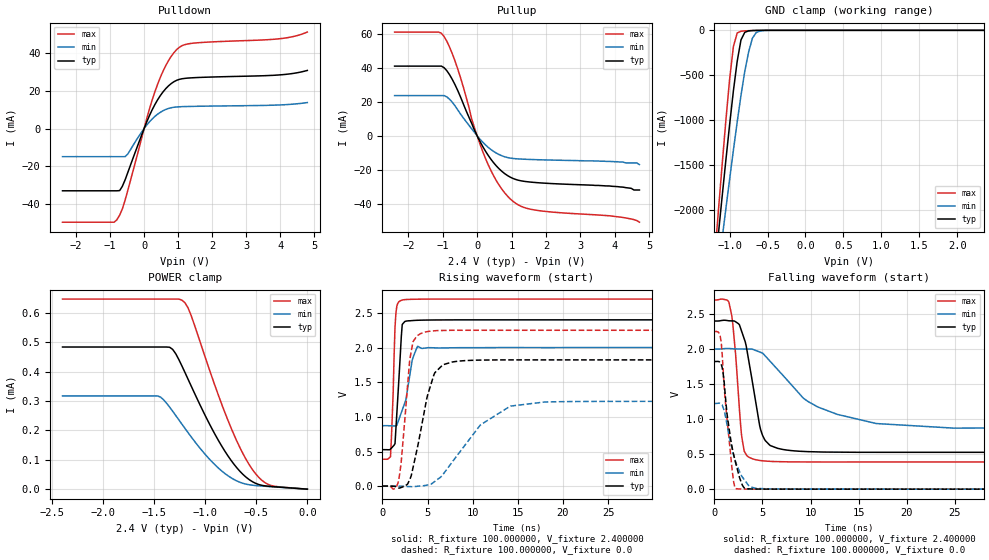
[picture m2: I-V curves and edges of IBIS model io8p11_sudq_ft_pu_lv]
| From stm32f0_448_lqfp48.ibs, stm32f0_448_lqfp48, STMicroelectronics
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|   Model io8p11_sudq_ft_pu_lv
[Model]  io8p11_sudq_ft_pu_lv
Model_type I/O
Polarity   Non-Inverting
Enable   Active-Low
Vinl =   0.720000V
Vinh =   1.680000V
Vmeas =  1.200000V
Cref =   50.000000pF
Rref =   100.000000M
Vref =   0.0V
C_comp   1.970100pF   1.887900pF   2.069400pF
[Temperature Range]   25.000000   0.125000k   -40.000000
[Pullup Reference]   2.400000V   2.000000V   2.700000V
[Pulldown Reference]   0.0V   0.0V   0.0V
[POWER Clamp Reference]   2.400000V   2.000000V   2.700000V
[GND Clamp Reference]   0.0V   0.0V   0.0V
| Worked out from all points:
|   slope of the pulldown table from 0 to 0.36 V, typ, clamps not added: 25.5 ohm
|   slope of the pullup table from 0 to 0.36 V, typ, clamps not added: 28.4 ohm
|   GND clamp passes 1 mA (typ) near -0.64 V on its own axis
|   rising waveform, R_fixture 100.000000, V_fixture 2.400000: 20-80 % time 508ps typ, 1.05ns min, 337ps max; typ from 0.527 V to 2.4 V
|   rising waveform, R_fixture 100.000000, V_fixture 0.0: 20-80 % time 1.8ns typ, 4.87ns min, 863ps max; typ from 0.001 V to 1.82 V
|   falling waveform, R_fixture 100.000000, V_fixture 2.400000: 20-80 % time 1.39ns typ, 6.08ns min, 775ps max; typ from 2.4 V to 0.527 V
|   falling waveform, R_fixture 100.000000, V_fixture 0.0: 20-80 % time 1.17ns typ, 1.4ns min, 853ps max; typ from 1.82 V to 0.001 V
[Pulldown]
|Voltage   I(typ)   I(min)   I(max)
-2.4V     -33.16mA   -14.98mA   -49.86mA
-880mV    -33.16mA   -14.98mA   -49.86mA
-800mV    -33.16mA   -14.98mA   -48.55mA
-640mV    -30.75mA   -14.98mA   -42.77mA
-480mV    -23.43mA   -13.57mA   -32.92mA
80mV      3.651mA    1.905mA    5.506mA
400mV     15.37mA    7.665mA    23.73mA
720mV     22.75mA    10.69mA    36.23mA
1.04V     26.18mA    11.57mA    43.27mA
1.52V     27.09mA    11.81mA    45.55mA
4V        28.55mA    12.55mA    47.81mA
4.8V      30.9mA     13.81mA    51.31mA
[Pullup]
|Voltage   I(typ)   I(min)   I(max)
-2.4V     41.12mA    23.71mA    61.21mA
-1.12V    41.12mA    23.71mA    61.21mA
-960mV    40.18mA    23.71mA    58.56mA
-800mV    36.01mA    21.55mA    52.29mA
-560mV    26.54mA    15.18mA    39.21mA
-160mV    7.421mA    4.162mA    10.02mA
240mV     -8.977mA   -5.327mA   -13.21mA
640mV     -19.51mA   -11.09mA   -29.16mA
1.04V     -25.15mA   -13.38mA   -38.61mA
1.68V     -27.56mA   -14.07mA   -43.82mA
3.84V     -29.6mA    -15.1mA    -47.2mA
4.72V     -32mA      -17mA      -51mA
[GND_clamp]
|Voltage   I(typ)   I(min)   I(max)
-2.4V     -9.788A    -9.782A    -9.734A
-1.2V     -2.718A    -3.02A     -2.568A
-1.15V    -2.29A     -2.675A    -2.036A
-1.1V     -1.868A    -2.333A    -1.515A
-1.05V    -1.454A    -1.995A    -1.012A
-950mV    -674.5mA   -1.337A    -180.5mA
-900mV    -345.2mA   -1.023A    -29.72mA
-850mV    -106.4mA   -726mA     -10.13mA
-750mV    -6.396mA   -244mA     -4.026mA
-700mV    -2.558mA   -88.61mA   -2.329mA
-600mV    -416uA     -7.739mA   -368uA
2.35V     0A         0A         0A
[POWER_clamp]
|Voltage   I(typ)   I(min)   I(max)
-2.4V     483.8uA    317.4uA    647uA
-1.47V    483.8uA    317.4uA    647uA
-1.32V    475.6uA    265.2uA    647uA
-1.23V    419.7uA    221.6uA    643.3uA
-1.17V    374.8uA    192.7uA    617.6uA
-1.14V    352.1uA    178.7uA    591.9uA
-840mV    147uA      62.15uA    289.6uA
-690mV    72.24uA    27.76uA    162.7uA
-540mV    25.74uA    13.55uA    67.63uA
-450mV    13.38uA    10.75uA    31.36uA
-360mV    9.231uA    8.535uA    12.97uA
0V        0A         0A         0A
[Ramp]
| variable   typ   min   max
dV/dt_r  1.09269/1.79328n   0.73359/4.86832n   1.34926/0.85997n
dV/dt_f  1.12411/1.38607n   0.67669/6.07307n   1.38681/0.77427n
R_load = 100.000000
[Rising Waveform]
R_fixture= 100.000000
V_fixture= 2.400000
V_fixture_min= 2.000000
V_fixture_max= 2.700000
|time   V(typ)   V(min)   V(max)
0s        526.5mV    872.5mV    388.6mV
900.9ps   534.2mV    870.9mV    425.1mV
1.201ns   577.4mV    869.6mV    1.365V
1.401ns   613.7mV    869.2mV    2.295V
1.602ns   1.046V     879.2mV    2.598V
2.202ns   2.333V     1.099V     2.686V
2.603ns   2.381V     1.245V     2.693V
3.303ns   2.389V     1.817V     2.697V
3.904ns   2.394V     2.019V     2.698V
49.85ns   2.4V       2V         2.7V
[Rising Waveform]
R_fixture= 100.000000
V_fixture= 0.0
V_fixture_min= 0.0
V_fixture_max= 0.0
|time   V(typ)   V(min)   V(max)
0s        1.022mV    1.341mV    911uV
1.802ns   -26.21mV   109.9uV    74.5mV
3.103ns   116.7mV    -6.8mV     1.877V
3.403ns   271.6mV    -8.185mV   2.086V
4.505ns   979.1mV    4.99mV     2.215V
5.706ns   1.605V     58.19mV    2.241V
6.707ns   1.752V     167.1mV    2.247V
10.81ns   1.819V     875.7mV    2.25V
14.21ns   1.822V     1.156V     2.25V
49.85ns   1.822V     1.224V     2.25V
[Falling Waveform]
R_fixture= 100.000000
V_fixture= 2.400000
V_fixture_min= 2.000000
V_fixture_max= 2.700000
|time   V(typ)   V(min)   V(max)
0s        2.4V       2V         2.7V
1.502ns   2.403V     2.008V     2.671V
1.902ns   2.401V     2.004V     2.37V
2.903ns   2.224V     2.001V     697.7mV
4.004ns   1.486V     1.995V     432.1mV
5.205ns   712.7mV    1.914V     402.8mV
7.508ns   558.9mV    1.567V     391mV
10.81ns   532.3mV    1.17V      388.6mV
16.82ns   526.7mV    938mV      388.6mV
49.85ns   526.5mV    872.5mV    388.6mV
[Falling Waveform]
R_fixture= 100.000000
V_fixture= 0.0
V_fixture_min= 0.0
V_fixture_max= 0.0
|time   V(typ)   V(min)   V(max)
0s        1.822V     1.224V     2.25V
700.7ps   1.784V     1.216V     2.102V
1.101ns   1.384V     1.072V     1.307V
1.301ns   1.083V     926.1mV    1.012V
1.802ns   627.4mV    595.9mV    327.6mV
2.102ns   434.5mV    435.4mV    35.99mV
2.302ns   325.6mV    349.7mV    5.728mV
3.103ns   17.78mV    137.1mV    2.333mV
4.605ns   2.394mV    9.48mV     1.404mV
49.85ns   1.022mV    1.341mV    911uV
